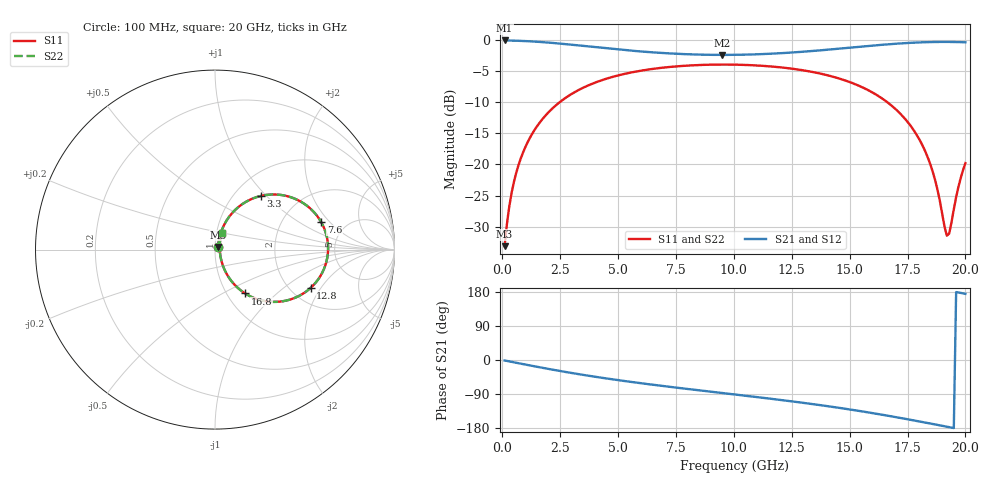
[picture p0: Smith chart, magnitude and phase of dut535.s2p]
! Touchstone file exported from HFSS 2026.1.0
!  File:  C:/ffzhzh/LocalFiles/Ansys_Project_Files/temp_train_TSV_RDL_535_1783112517_35180.aedt
!  Generated:  05:15:15 AM Jul  4, 2026
!  Design:  TSV_RDL
!  Project:  temp_train_TSV_RDL_535_1783112517_35180
! Variables:
!  h_bsmrdl = 4.41um
!  h_ox = 20um
!  h_rdl = 5um
!  h_sub = 90.38um
!  h_tmrdl = 5.16um
!  h_tsv = 90.38um
!  h_via = 3um
!  l_bsmrdl = 263.34um
!  l_sub = 2961.22um
!  l_tmrdl = 416.55um
!  m_sub = 200um
!  pitch = 53.06um
!  r_tsv = 3.65um
!  s_tmrdl = 10um
!  w_bsmrdl = 20.98um
!  w_sub = 500um
!  w_tmrdl = 14.02um
!  x_tsv_center1 = 423.56um
!  x_tsv_center2 = 707.88um
!  x_tsv_center3 = 1138.45um
!  x_tsv_center4 = 1422.77um
!  x_tsv_center5 = 1853.34um
!  x_tsv_center6 = 2137.66um
# GHz S MA R 50.000000
! Terminal data exported
! Port[1] = TM_RDL1_1_T1
! Port[2] = TM_RDL5_1_T1
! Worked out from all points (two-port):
!   200 points, 100 MHz to 20 GHz, reference 50 ohm
!   highest |S21| = -0.15 dB at 100 MHz (marker M1); lowest = -2.5 dB at 9.5 GHz (marker M2)
!   |S21| within 3 dB of the highest: start of sweep to end of sweep
!   lowest |S11| = -33.1 dB at 100 MHz (marker M3), VSWR 1.05, Z = 51.7 + j1.45 ohm
!   |S11| at or under -10 dB: start of sweep to 2.494 GHz; 16.61 GHz to end of sweep
!   |S22| runs from -33.1 to -4.0 dB; largest |S21 - S12| = 1.7e-14
!   S11 on the Smith chart (normalised r, x): 100 MHz: 1.03, +0.03; 3.3 GHz: 1.32, +0.93; 7.6 GHz: 3.29, +1.61; 12.8 GHz: 2.54, -1.62; 16.8 GHz: 1.21, -0.65; 20 GHz: 1.06, +0.20
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0.1  0.02208 39.3  0.9831 -1.2  0.9831 -1.2  0.02208 39.3
! Gamma 0 0 0 0
! Port Impedance 50 0 50 0
0.4  0.05882 67.5  0.9807 -4.9  0.9807 -4.9  0.05882 67.5
1  0.138 70.1  0.9718 -12.1  0.9718 -12.1  0.138 70.1
1.9  0.2501 62.9  0.9483 -22.5  0.9483 -22.5  0.2501 62.9
3.3  0.3943 49.4  0.8967 -37.4  0.8967 -37.4  0.3943 49.4
3.5  0.4115 47.5  0.8888 -39.4  0.8888 -39.4  0.4115 47.5
6.8  0.5912 20.3  0.7824 -67.6  0.7824 -67.6  0.5912 20.3
7.6  0.611 14.6  0.7677 -73.5  0.7677 -73.5  0.611 14.6
9.5  0.6302 1.5  0.7531 -87.1  0.7531 -87.1  0.6302 1.5
10.1  0.6287 -2.6  0.7544 -91.4  0.7544 -91.4  0.6287 -2.6
12.8  0.5739 -21.8  0.7939 -111.5  0.7939 -111.5  0.574 -21.8
13.4  0.5494 -26.4  0.8096 -116.3  0.8096 -116.3  0.5495 -26.4
15.2  0.4417 -41.3  0.8671 -132.3  0.8671 -132.3  0.4417 -41.3
16.7  0.3072 -54.6  0.9169 -147.5  0.9169 -147.5  0.3072 -54.6
16.8  0.2968 -55.5  0.9198 -148.6  0.9198 -148.6  0.2968 -55.5
17.7  0.1957 -62.6  0.9425 -158.6  0.9425 -158.6  0.1957 -62.6
18.3  0.1229 -64.6  0.9524 -165.5  0.9524 -165.5  0.1229 -64.7
18.7  0.07384 -60.6  0.956 -170.2  0.956 -170.2  0.07383 -60.7
19.2  0.02677 -6.4  0.957 -176.0  0.957 -176.0  0.0267 -6.4
19.3  0.02786 19.9  0.9568 -177.2  0.9568 -177.2  0.02778 19.9
19.7  0.06599 63.3  0.9541 178.1  0.9541 178.1  0.06594 63.4
20  0.1022 68.5  0.9504 174.6  0.9504 174.6  0.1021 68.6
